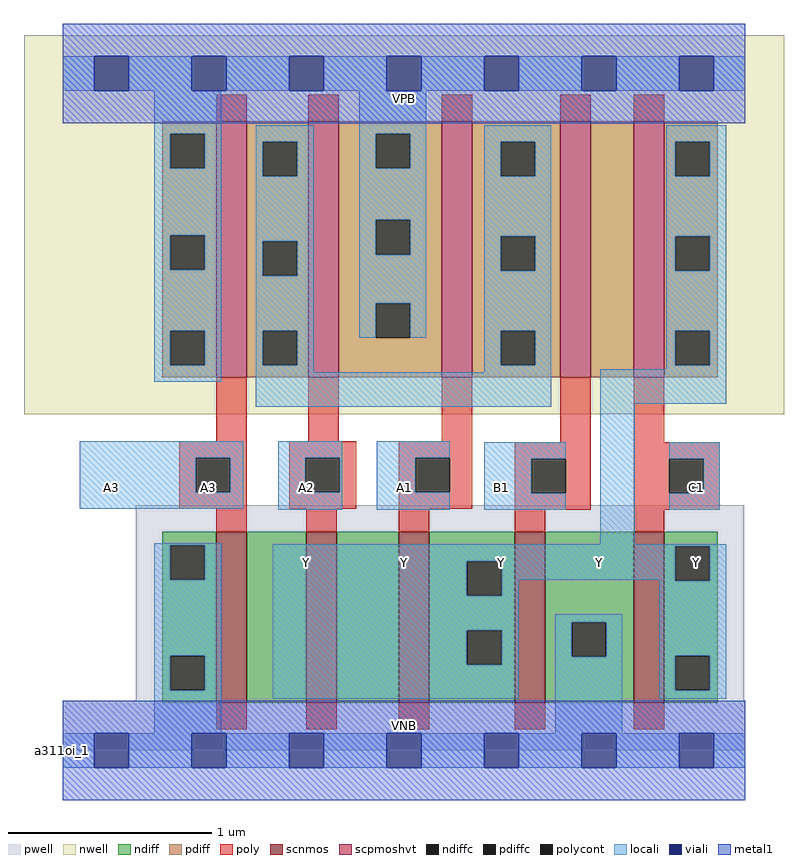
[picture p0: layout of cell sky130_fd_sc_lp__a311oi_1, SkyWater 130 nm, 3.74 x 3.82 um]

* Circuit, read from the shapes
.subckt sky130_fd_sc_lp__a311oi_1 A1 A2 A3 B1 C1 VGND VNB VPB VPWR Y
XM1 n1 A3 VGND VNB sky130_fd_pr__nfet_01v8 w=0.84 l=0.15
XM2 n2 A2 n1 VNB sky130_fd_pr__nfet_01v8 w=0.84 l=0.15
XM3 Y A1 n2 VNB sky130_fd_pr__nfet_01v8 w=0.84 l=0.15
XM4 VGND B1 Y VNB sky130_fd_pr__nfet_01v8 w=0.84 l=0.15
XM5 Y C1 VGND VNB sky130_fd_pr__nfet_01v8 w=0.84 l=0.15
XM6 n3 A3 VPWR VPB sky130_fd_pr__pfet_01v8_hvt w=1.26 l=0.15
XM7 VPWR A2 n3 VPB sky130_fd_pr__pfet_01v8_hvt w=1.26 l=0.15
XM8 n3 A1 VPWR VPB sky130_fd_pr__pfet_01v8_hvt w=1.26 l=0.15
XM9 n4 B1 n3 VPB sky130_fd_pr__pfet_01v8_hvt w=1.26 l=0.15
XM10 Y C1 n4 VPB sky130_fd_pr__pfet_01v8_hvt w=1.26 l=0.15
.ends

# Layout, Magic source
magic
tech sky130A
magscale 1 2
<< nwell >>
rect -38 331 710 704
<< pwell >>
rect 72 49 671 241
rect 0 0 672 49
<< scnmos >>
rect 151 47 181 215
rect 240 47 270 215
rect 331 47 361 215
rect 445 47 475 215
rect 562 47 592 215
<< scpmoshvt >>
rect 151 367 181 619
rect 242 367 272 619
rect 373 367 403 619
rect 490 367 520 619
rect 562 367 592 619
<< ndiff >>
rect 98 202 151 215
rect 98 168 106 202
rect 140 168 151 202
rect 98 93 151 168
rect 98 59 106 93
rect 140 59 151 93
rect 98 47 151 59
rect 181 47 240 215
rect 270 47 331 215
rect 361 186 445 215
rect 361 152 398 186
rect 432 152 445 186
rect 361 118 445 152
rect 361 84 398 118
rect 432 84 445 118
rect 361 47 445 84
rect 475 126 562 215
rect 475 92 501 126
rect 535 92 562 126
rect 475 47 562 92
rect 592 201 645 215
rect 592 167 603 201
rect 637 167 645 201
rect 592 93 645 167
rect 592 59 603 93
rect 637 59 645 93
rect 592 47 645 59
<< pdiff >>
rect 98 607 151 619
rect 98 573 106 607
rect 140 573 151 607
rect 98 507 151 573
rect 98 473 106 507
rect 140 473 151 507
rect 98 413 151 473
rect 98 379 106 413
rect 140 379 151 413
rect 98 367 151 379
rect 181 599 242 619
rect 181 565 197 599
rect 231 565 242 599
rect 181 501 242 565
rect 181 467 197 501
rect 231 467 242 501
rect 181 413 242 467
rect 181 379 197 413
rect 231 379 242 413
rect 181 367 242 379
rect 272 607 373 619
rect 272 573 308 607
rect 342 573 373 607
rect 272 522 373 573
rect 272 488 308 522
rect 342 488 373 522
rect 272 440 373 488
rect 272 406 308 440
rect 342 406 373 440
rect 272 367 373 406
rect 403 599 490 619
rect 403 565 431 599
rect 465 565 490 599
rect 403 506 490 565
rect 403 472 431 506
rect 465 472 490 506
rect 403 413 490 472
rect 403 379 431 413
rect 465 379 490 413
rect 403 367 490 379
rect 520 367 562 619
rect 592 599 645 619
rect 592 565 603 599
rect 637 565 645 599
rect 592 506 645 565
rect 592 472 603 506
rect 637 472 645 506
rect 592 413 645 472
rect 592 379 603 413
rect 637 379 645 413
rect 592 367 645 379
<< ndiffc >>
rect 106 168 140 202
rect 106 59 140 93
rect 398 152 432 186
rect 398 84 432 118
rect 501 92 535 126
rect 603 167 637 201
rect 603 59 637 93
<< pdiffc >>
rect 106 573 140 607
rect 106 473 140 507
rect 106 379 140 413
rect 197 565 231 599
rect 197 467 231 501
rect 197 379 231 413
rect 308 573 342 607
rect 308 488 342 522
rect 308 406 342 440
rect 431 565 465 599
rect 431 472 465 506
rect 431 379 465 413
rect 603 565 637 599
rect 603 472 637 506
rect 603 379 637 413
<< poly >>
rect 151 619 181 645
rect 242 619 272 645
rect 373 619 403 645
rect 490 619 520 645
rect 562 619 592 645
rect 151 304 181 367
rect 242 304 272 367
rect 373 304 403 367
rect 115 288 181 304
rect 115 254 131 288
rect 165 254 181 288
rect 115 238 181 254
rect 223 288 289 304
rect 223 254 239 288
rect 273 254 289 288
rect 223 238 289 254
rect 331 288 403 304
rect 490 303 520 367
rect 331 254 347 288
rect 381 254 403 288
rect 331 238 403 254
rect 445 287 520 303
rect 445 253 461 287
rect 495 253 520 287
rect 151 215 181 238
rect 240 215 270 238
rect 331 215 361 238
rect 445 237 520 253
rect 562 303 592 367
rect 562 287 647 303
rect 562 253 597 287
rect 631 253 647 287
rect 562 237 647 253
rect 445 215 475 237
rect 562 215 592 237
rect 151 21 181 47
rect 240 21 270 47
rect 331 21 361 47
rect 445 21 475 47
rect 562 21 592 47
<< polycont >>
rect 131 254 165 288
rect 239 254 273 288
rect 347 254 381 288
rect 461 253 495 287
rect 597 253 631 287
<< locali >>
rect 0 649 31 683
rect 65 649 127 683
rect 161 649 223 683
rect 257 649 319 683
rect 353 649 415 683
rect 449 649 511 683
rect 545 649 607 683
rect 641 649 672 683
rect 90 607 156 649
rect 90 573 106 607
rect 140 573 156 607
rect 90 507 156 573
rect 90 473 106 507
rect 140 473 156 507
rect 90 413 156 473
rect 90 379 106 413
rect 140 379 156 413
rect 90 363 156 379
rect 190 599 247 615
rect 190 565 197 599
rect 231 565 247 599
rect 190 501 247 565
rect 190 467 197 501
rect 231 467 247 501
rect 190 413 247 467
rect 190 379 197 413
rect 231 379 247 413
rect 292 607 358 649
rect 292 573 308 607
rect 342 573 358 607
rect 292 522 358 573
rect 292 488 308 522
rect 342 488 358 522
rect 292 440 358 488
rect 292 406 308 440
rect 342 406 358 440
rect 415 599 481 615
rect 415 565 431 599
rect 465 565 481 599
rect 415 506 481 565
rect 415 472 431 506
rect 465 472 481 506
rect 415 413 481 472
rect 190 372 247 379
rect 415 379 431 413
rect 465 379 481 413
rect 415 372 481 379
rect 594 599 653 615
rect 594 565 603 599
rect 637 565 653 599
rect 594 506 653 565
rect 594 472 603 506
rect 637 472 653 506
rect 594 413 653 472
rect 594 379 603 413
rect 637 379 653 413
rect 594 375 653 379
rect 190 338 481 372
rect 529 341 653 375
rect 17 288 178 304
rect 17 254 131 288
rect 165 254 178 288
rect 17 238 178 254
rect 212 288 275 304
rect 212 254 239 288
rect 273 254 275 288
rect 212 237 275 254
rect 309 288 381 304
rect 309 254 347 288
rect 309 237 381 254
rect 415 287 495 303
rect 415 253 461 287
rect 415 237 495 253
rect 90 202 156 204
rect 529 203 563 341
rect 597 287 647 303
rect 631 253 647 287
rect 597 237 647 253
rect 90 168 106 202
rect 140 168 156 202
rect 90 93 156 168
rect 90 59 106 93
rect 140 59 156 93
rect 90 17 156 59
rect 207 201 653 203
rect 207 186 603 201
rect 207 152 398 186
rect 432 168 603 186
rect 432 152 449 168
rect 207 118 449 152
rect 587 167 603 168
rect 637 167 653 201
rect 207 84 398 118
rect 432 84 449 118
rect 207 51 449 84
rect 485 126 551 134
rect 485 92 501 126
rect 535 92 551 126
rect 485 17 551 92
rect 587 93 653 167
rect 587 59 603 93
rect 637 59 653 93
rect 587 51 653 59
rect 0 -17 31 17
rect 65 -17 127 17
rect 161 -17 223 17
rect 257 -17 319 17
rect 353 -17 415 17
rect 449 -17 511 17
rect 545 -17 607 17
rect 641 -17 672 17
<< viali >>
rect 31 649 65 683
rect 127 649 161 683
rect 223 649 257 683
rect 319 649 353 683
rect 415 649 449 683
rect 511 649 545 683
rect 607 649 641 683
rect 31 -17 65 17
rect 127 -17 161 17
rect 223 -17 257 17
rect 319 -17 353 17
rect 415 -17 449 17
rect 511 -17 545 17
rect 607 -17 641 17
<< metal1 >>
rect 0 683 672 715
rect 0 649 31 683
rect 65 649 127 683
rect 161 649 223 683
rect 257 649 319 683
rect 353 649 415 683
rect 449 649 511 683
rect 545 649 607 683
rect 641 649 672 683
rect 0 617 672 649
rect 0 17 672 49
rect 0 -17 31 17
rect 65 -17 127 17
rect 161 -17 223 17
rect 257 -17 319 17
rect 353 -17 415 17
rect 449 -17 511 17
rect 545 -17 607 17
rect 641 -17 672 17
rect 0 -49 672 -17
<< labels >>
flabel pwell s 0 0 672 49 0 FreeSans 200 0 0 0 VNB
port 7 nsew ground bidirectional
flabel nwell s 0 617 672 666 0 FreeSans 200 0 0 0 VPB
port 8 nsew power bidirectional
rlabel comment s 0 0 0 0 4 a311oi_1
flabel metal1 s 0 617 672 666 0 FreeSans 340 0 0 0 VPWR
port 9 nsew power bidirectional
flabel metal1 s 0 0 672 49 0 FreeSans 340 0 0 0 VGND
port 6 nsew ground bidirectional
flabel locali s 319 242 353 276 0 FreeSans 340 0 0 0 A1
port 1 nsew signal input
flabel locali s 415 168 449 202 0 FreeSans 340 0 0 0 Y
port 10 nsew signal output
flabel locali s 223 242 257 276 0 FreeSans 340 0 0 0 A2
port 2 nsew signal input
flabel locali s 127 242 161 276 0 FreeSans 340 0 0 0 A3
port 3 nsew signal input
flabel locali s 415 242 449 276 0 FreeSans 340 0 0 0 B1
port 4 nsew signal input
flabel locali s 607 242 641 276 0 FreeSans 340 0 0 0 C1
port 5 nsew signal input
flabel locali s 31 242 65 276 0 FreeSans 340 0 0 0 A3
port 3 nsew signal input
flabel locali s 607 168 641 202 0 FreeSans 340 0 0 0 Y
port 10 nsew signal output
flabel locali s 511 168 545 202 0 FreeSans 340 0 0 0 Y
port 10 nsew signal output
flabel locali s 223 168 257 202 0 FreeSans 340 0 0 0 Y
port 10 nsew signal output
flabel locali s 319 168 353 202 0 FreeSans 340 0 0 0 Y
port 10 nsew signal output
<< properties >>
string LEFsite unit
string LEFclass CORE
string FIXED_BBOX 0 0 672 666
string GDS_FILE $PDKPATH/libs.ref/sky130_fd_sc_lp/gds/sky130_fd_sc_lp.gds
string LEFsymmetry X Y R90
string GDS_END 3244080
string GDS_START 3237384
<< end >>
